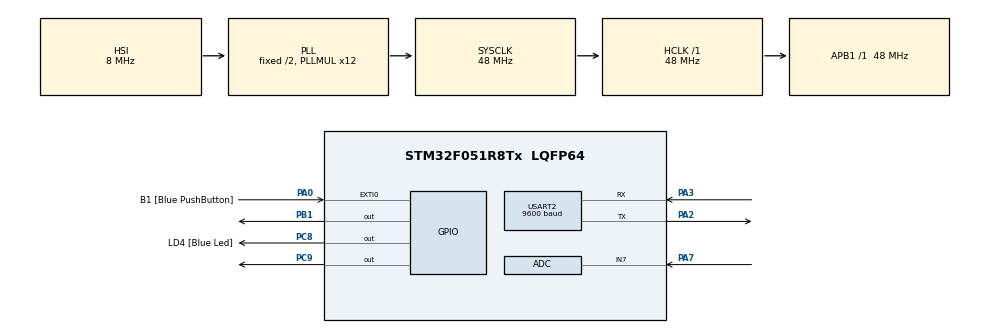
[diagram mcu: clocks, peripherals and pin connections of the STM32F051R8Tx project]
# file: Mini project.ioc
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Dma.ADC.0.Direction=DMA_PERIPH_TO_MEMORY
Dma.ADC.0.Instance=DMA1_Channel1
Dma.ADC.0.MemDataAlignment=DMA_MDATAALIGN_HALFWORD
Dma.ADC.0.MemInc=DMA_MINC_ENABLE
Dma.ADC.0.Mode=DMA_NORMAL
Dma.ADC.0.PeriphDataAlignment=DMA_PDATAALIGN_HALFWORD
Dma.ADC.0.PeriphInc=DMA_PINC_DISABLE
Dma.ADC.0.Priority=DMA_PRIORITY_LOW
Dma.Request0=ADC
Dma.Request1=USART2_TX
Dma.USART2_TX.1.Direction=DMA_MEMORY_TO_PERIPH
Dma.USART2_TX.1.Instance=DMA1_Channel4
Dma.USART2_TX.1.MemDataAlignment=DMA_MDATAALIGN_BYTE
Dma.USART2_TX.1.MemInc=DMA_MINC_ENABLE
Dma.USART2_TX.1.Mode=DMA_NORMAL
Dma.USART2_TX.1.PeriphDataAlignment=DMA_PDATAALIGN_BYTE
Dma.USART2_TX.1.PeriphInc=DMA_PINC_DISABLE
Dma.USART2_TX.1.Priority=DMA_PRIORITY_LOW
Mcu.Family=STM32F0
Mcu.Name=STM32F051R8Tx
Mcu.Package=LQFP64
NVIC.DMA1_Channel1_IRQn=true\:0\:0\:false\:false\:true\:false\:true\:true
NVIC.DMA1_Channel4_5_IRQn=true\:0\:0\:false\:false\:true\:false\:true\:true
NVIC.EXTI0_1_IRQn=true\:0\:0\:false\:false\:true\:true\:true\:true
PA0.GPIO_Label=B1 [Blue PushButton]
PA0.GPIO_ModeDefaultEXTI=GPIO_MODE_IT_FALLING
PA0.Signal=GPXTI0
PA13.GPIO_Label=SWDIO
PA13.Mode=Serial_Wire
PA13.Signal=SYS_SWDIO
PA14.GPIO_Label=SWCLK
PA14.Mode=Serial_Wire
PA14.Signal=SYS_SWCLK
PA2.Mode=Asynchronous
PA2.Signal=USART2_TX
PA3.Mode=Asynchronous
PA3.Signal=USART2_RX
PA7.Mode=IN7
PA7.Signal=ADC_IN7
PB1.Signal=GPIO_Output
PB6.Signal=I2C1_SCL
PB7.Signal=I2C1_SDA
PC8.GPIO_Label=LD4 [Blue Led]
PC8.Signal=GPIO_Output
PC9.Signal=GPIO_Output
PF0-OSC_IN.Mode=HSE-External-Oscillator
PF0-OSC_IN.Signal=RCC_OSC_IN
PF1-OSC_OUT.Mode=HSE-External-Oscillator
PF1-OSC_OUT.Signal=RCC_OSC_OUT
ProjectManager.HeapSize=0x200
ProjectManager.StackSize=0x400
ProjectManager.TargetToolchain=STM32CubeIDE
RCC.AHBFreq_Value=48000000
RCC.APB1Freq_Value=48000000
RCC.APB1TimFreq_Value=48000000
RCC.HCLKFreq_Value=48000000
RCC.PLLMUL=RCC_PLL_MUL12
RCC.SYSCLKFreq_VALUE=48000000
RCC.SYSCLKSource=RCC_SYSCLKSOURCE_PLLCLK
USART2.BaudRate=9600
USART2.VirtualMode-Asynchronous=VM_ASYNC
board=STM32F0DISCOVERY

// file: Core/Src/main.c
/* USER CODE BEGIN Header */

/* USER CODE END Header */
#include "main.h"

ADC_HandleTypeDef hadc;
DMA_HandleTypeDef hdma_adc;

UART_HandleTypeDef huart2;
DMA_HandleTypeDef hdma_usart2_tx;

/* USER CODE BEGIN PV */
uint32_t val =0;
char buffer1[32];
int buffer[12];
uint32_t delay=1000;
uint32_t bounce = 0;
int counter =  0;

//TO DO:
//TASK 1
//Create global variables for debouncing and delay interval

/* USER CODE END PV */

void SystemClock_Config(void);
static void MX_GPIO_Init(void);
static void MX_DMA_Init(void);
static void MX_ADC_Init(void);
static void MX_USART2_UART_Init(void);
/* USER CODE BEGIN PFP */
void EXTI0_1_IRQHandler(void);
uint32_t pollADC(void);
void decToBinary(int n);

/* USER CODE END PFP */

int main(void)
{

  /* MCU Configuration--------------------------------------------------------*/

  /* Reset of all peripherals, Initializes the Flash interface and the Systick. */
  HAL_Init();

  /* Configure the system clock */
  SystemClock_Config();

  /* Initialize all configured peripherals */
  MX_GPIO_Init();
  MX_DMA_Init();
  MX_ADC_Init();
  MX_USART2_UART_Init();
  /* USER CODE BEGIN 2 */

  //TO DO:
  //Create variables needed in while loop

  /* USER CODE END 2 */

  /* Infinite loop */
  /* USER CODE BEGIN WHILE */
  while (1)
  {

	  //pollADC();
	  //TO DO:
	  //TASK 2
	  //Test your pollADC function and display via UART

	      // Convert to string and print
//	   sprintf(buffer1, "ADC Value:\n %d\r\n DATA : \r\n", pollADC());
//	   HAL_UART_Transmit(&huart2, (uint8_t*)buffer1, sizeof(buffer1), 1000);
	  //TASK 3
	  //Test your ADCtoCRR function. Display CRR value via UART
		  //sprintf(buffer,"ADC to CRR:\n %d\r\n", ADCtoCRR(pollADC()));
	   pollADC();
	   if (delay == 500){
	   decToBinary(val);
	   }
	  //TASK 4
	  //Complete rest of implementation

	   HAL_Delay(2000);

    /* USER CODE END WHILE */

  }
}

void SystemClock_Config(void)
{
  RCC_OscInitTypeDef RCC_OscInitStruct = {0};
  RCC_ClkInitTypeDef RCC_ClkInitStruct = {0};

  /** Initializes the RCC Oscillators according to the specified parameters
  * in the RCC_OscInitTypeDef structure.
  */
  RCC_OscInitStruct.OscillatorType = RCC_OSCILLATORTYPE_HSI|RCC_OSCILLATORTYPE_HSI14;
  RCC_OscInitStruct.HSIState = RCC_HSI_ON;
  RCC_OscInitStruct.HSI14State = RCC_HSI14_ON;
  RCC_OscInitStruct.HSICalibrationValue = RCC_HSICALIBRATION_DEFAULT;
  RCC_OscInitStruct.HSI14CalibrationValue = 16;
  RCC_OscInitStruct.PLL.PLLState = RCC_PLL_ON;
  RCC_OscInitStruct.PLL.PLLSource = RCC_PLLSOURCE_HSI;
  RCC_OscInitStruct.PLL.PLLMUL = RCC_PLL_MUL12;
  RCC_OscInitStruct.PLL.PREDIV = RCC_PREDIV_DIV1;
  if (HAL_RCC_OscConfig(&RCC_OscInitStruct) != HAL_OK)
  {
    Error_Handler();
  }

  /** Initializes the CPU, AHB and APB buses clocks
  */
  RCC_ClkInitStruct.ClockType = RCC_CLOCKTYPE_HCLK|RCC_CLOCKTYPE_SYSCLK
                              |RCC_CLOCKTYPE_PCLK1;
  RCC_ClkInitStruct.SYSCLKSource = RCC_SYSCLKSOURCE_PLLCLK;
  RCC_ClkInitStruct.AHBCLKDivider = RCC_SYSCLK_DIV1;
  RCC_ClkInitStruct.APB1CLKDivider = RCC_HCLK_DIV1;

  if (HAL_RCC_ClockConfig(&RCC_ClkInitStruct, FLASH_LATENCY_1) != HAL_OK)
  {
    Error_Handler();
  }
}

static void MX_ADC_Init(void)
{

  ADC_ChannelConfTypeDef sConfig = {0};

  /** Configure the global features of the ADC (Clock, Resolution, Data Alignment and number of conversion)
  */
  hadc.Instance = ADC1;
  hadc.Init.ClockPrescaler = ADC_CLOCK_ASYNC_DIV1;
  hadc.Init.Resolution = ADC_RESOLUTION_12B;
  hadc.Init.DataAlign = ADC_DATAALIGN_RIGHT;
  hadc.Init.ScanConvMode = ADC_SCAN_DIRECTION_FORWARD;
  hadc.Init.EOCSelection = ADC_EOC_SINGLE_CONV;
  hadc.Init.LowPowerAutoWait = DISABLE;
  hadc.Init.LowPowerAutoPowerOff = DISABLE;
  hadc.Init.ContinuousConvMode = DISABLE;
  hadc.Init.DiscontinuousConvMode = DISABLE;
  hadc.Init.ExternalTrigConv = ADC_SOFTWARE_START;
  hadc.Init.ExternalTrigConvEdge = ADC_EXTERNALTRIGCONVEDGE_NONE;
  hadc.Init.DMAContinuousRequests = DISABLE;
  hadc.Init.Overrun = ADC_OVR_DATA_PRESERVED;
  if (HAL_ADC_Init(&hadc) != HAL_OK)
  {
    Error_Handler();
  }

  /** Configure for the selected ADC regular channel to be converted.
  */
  sConfig.Channel = ADC_CHANNEL_7;
  sConfig.Rank = ADC_RANK_CHANNEL_NUMBER;
  sConfig.SamplingTime = ADC_SAMPLETIME_1CYCLE_5;
  if (HAL_ADC_ConfigChannel(&hadc, &sConfig) != HAL_OK)
  {
    Error_Handler();
  }

}

static void MX_USART2_UART_Init(void)
{

  huart2.Instance = USART2;
  huart2.Init.BaudRate = 9600;
  huart2.Init.WordLength = UART_WORDLENGTH_8B;
  huart2.Init.StopBits = UART_STOPBITS_1;
  huart2.Init.Parity = UART_PARITY_NONE;
  huart2.Init.Mode = UART_MODE_TX_RX;
  huart2.Init.HwFlowCtl = UART_HWCONTROL_NONE;
  huart2.Init.OverSampling = UART_OVERSAMPLING_16;
  huart2.Init.OneBitSampling = UART_ONE_BIT_SAMPLE_DISABLE;
  huart2.AdvancedInit.AdvFeatureInit = UART_ADVFEATURE_NO_INIT;
  if (HAL_UART_Init(&huart2) != HAL_OK)
  {
    Error_Handler();
  }

}

static void MX_DMA_Init(void)
{

  /* DMA controller clock enable */
  __HAL_RCC_DMA1_CLK_ENABLE();

  /* DMA interrupt init */
  /* DMA1_Channel1_IRQn interrupt configuration */
  HAL_NVIC_SetPriority(DMA1_Channel1_IRQn, 0, 0);
  HAL_NVIC_EnableIRQ(DMA1_Channel1_IRQn);
  /* DMA1_Channel4_5_IRQn interrupt configuration */
  HAL_NVIC_SetPriority(DMA1_Channel4_5_IRQn, 0, 0);
  HAL_NVIC_EnableIRQ(DMA1_Channel4_5_IRQn);

}

static void MX_GPIO_Init(void)
{
  GPIO_InitTypeDef GPIO_InitStruct = {0};

  /* GPIO Ports Clock Enable */
  __HAL_RCC_GPIOF_CLK_ENABLE();
  __HAL_RCC_GPIOA_CLK_ENABLE();
  __HAL_RCC_GPIOB_CLK_ENABLE();
  __HAL_RCC_GPIOC_CLK_ENABLE();

  /*Configure GPIO pin Output Level */
  HAL_GPIO_WritePin(GPIOB, GPIO_PIN_1, GPIO_PIN_RESET);

  /*Configure GPIO pin Output Level */
  HAL_GPIO_WritePin(GPIOC, LD4_Pin|GPIO_PIN_9, GPIO_PIN_RESET);

  /*Configure GPIO pin : B1_Pin */
  GPIO_InitStruct.Pin = B1_Pin;
  GPIO_InitStruct.Mode = GPIO_MODE_IT_FALLING;
  GPIO_InitStruct.Pull = GPIO_NOPULL;
  HAL_GPIO_Init(B1_GPIO_Port, &GPIO_InitStruct);

  /*Configure GPIO pin : PB1 */
  GPIO_InitStruct.Pin = GPIO_PIN_1;
  GPIO_InitStruct.Mode = GPIO_MODE_OUTPUT_PP;
  GPIO_InitStruct.Pull = GPIO_NOPULL;
  GPIO_InitStruct.Speed = GPIO_SPEED_FREQ_LOW;
  HAL_GPIO_Init(GPIOB, &GPIO_InitStruct);

  /*Configure GPIO pins : LD4_Pin PC9 */
  GPIO_InitStruct.Pin = LD4_Pin|GPIO_PIN_9;
  GPIO_InitStruct.Mode = GPIO_MODE_OUTPUT_PP;
  GPIO_InitStruct.Pull = GPIO_NOPULL;
  GPIO_InitStruct.Speed = GPIO_SPEED_FREQ_LOW;
  HAL_GPIO_Init(GPIOC, &GPIO_InitStruct);

  /*Configure GPIO pins : PB6 PB7 */
  GPIO_InitStruct.Pin = GPIO_PIN_6|GPIO_PIN_7;
  GPIO_InitStruct.Mode = GPIO_MODE_AF_OD;
  GPIO_InitStruct.Pull = GPIO_NOPULL;
  GPIO_InitStruct.Speed = GPIO_SPEED_FREQ_HIGH;
  GPIO_InitStruct.Alternate = GPIO_AF1_I2C1;
  HAL_GPIO_Init(GPIOB, &GPIO_InitStruct);

  /* EXTI interrupt init*/
  HAL_NVIC_SetPriority(EXTI0_1_IRQn, 0, 0);
  HAL_NVIC_EnableIRQ(EXTI0_1_IRQn);

}

/* USER CODE BEGIN 4 */
void EXTI0_1_IRQHandler(void)
{
	//TO DO:
	//TASK 1
	//Switch delay frequency
	if((HAL_GetTick()- bounce)>10){
		if(delay==1000)
		{
		HAL_GPIO_TogglePin(GPIOC, GPIO_PIN_9); // Toggle blue LED
		delay=500;
		}
		else
		{
			HAL_GPIO_TogglePin(GPIOC, GPIO_PIN_9); // Toggle blue LED
			delay=1000;
		}
		bounce = HAL_GetTick();
	}

	HAL_GPIO_EXTI_IRQHandler(B1_Pin); // Clear interrupt flags
}

uint32_t pollADC(void){
	//TO DO:
	//TASK 2
	// Complete the function body`
	// Test: Set GPIO pin high
    HAL_GPIO_WritePin(GPIOA, GPIO_PIN_7, GPIO_PIN_SET);

    // Get ADC value
    HAL_ADC_Start(&hadc);
    HAL_ADC_PollForConversion(&hadc, HAL_MAX_DELAY);
    val = HAL_ADC_GetValue(&hadc);

    // Test: Set GPIO pin low
    HAL_GPIO_WritePin(GPIOA, GPIO_PIN_7, GPIO_PIN_RESET);
	return val;
}

// convert Decimal number into Binary
void decToBinary(int n)
{
    // array to store binary number
    int binaryNum[12];
    int i = 0;
    for (int y = 0; y <12 ;y++){
    	binaryNum[y] = 0;
    }
    // counter for binary array
    while (n > 0) {
        // storing remainder in binary array
        binaryNum[i] = n % 2;
        n = n / 2;
        i++;
    }
    if (i == 0){i=12;}
//    for (int j = i-1; j >= 0; j--){
//    	sprintf(buffer, "%d", binaryNum[j]);
//    	HAL_UART_Transmit(&huart2, (uint8_t*)buffer, sizeof(buffer), 1000);
//   }
    HAL_GPIO_TogglePin(GPIOC, GPIO_PIN_8);// toggle pin 8 to show sending of start bit
    for (int z = 0 ; z < 2; z++){
    	HAL_GPIO_WritePin(GPIOB, GPIO_PIN_1, GPIO_PIN_SET);
        HAL_Delay(250);
    	HAL_GPIO_WritePin(GPIOB, GPIO_PIN_1, GPIO_PIN_RESET);
        HAL_Delay(250);
    }
    HAL_GPIO_TogglePin(GPIOC, GPIO_PIN_8);// toggle pin 8 to show done sending of start bit
    for (int j = i-1; j >= 0; j--){ // sending of binary values to light up LED for 1 and 0 values
    	if (binaryNum[j]==1){
    		HAL_GPIO_WritePin(GPIOB, GPIO_PIN_1, GPIO_PIN_SET);
    		HAL_Delay(500);
    	}
    	else{
    		HAL_GPIO_WritePin(GPIOB, GPIO_PIN_1, GPIO_PIN_RESET);
    		HAL_Delay(500);
    	}
    	counter++;
    }
    counter = 0;
    HAL_GPIO_TogglePin(GPIOC, GPIO_PIN_8); // toggle Pin 8(blue led) to show sending of end bit
    for (int z = 0 ; z < 5; z++){
    	HAL_GPIO_WritePin(GPIOB, GPIO_PIN_1, GPIO_PIN_SET);
        HAL_Delay(100);
        HAL_GPIO_WritePin(GPIOB, GPIO_PIN_1, GPIO_PIN_RESET);
        HAL_Delay(100);
    }
    HAL_GPIO_TogglePin(GPIOC, GPIO_PIN_8);// toggle pin 8 to show end of end bit
}
/* USER CODE END 4 */

void Error_Handler(void)
{
  __disable_irq();
  while (1)
  {
  }
}
